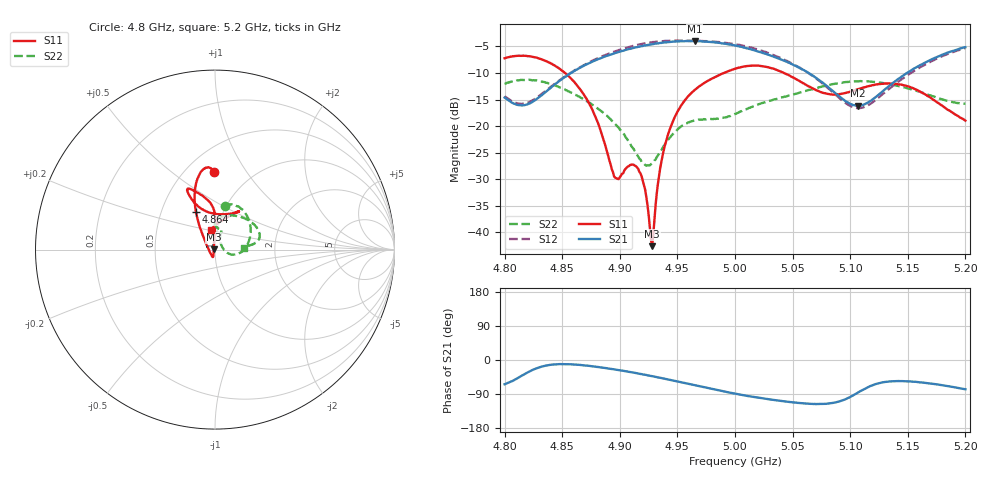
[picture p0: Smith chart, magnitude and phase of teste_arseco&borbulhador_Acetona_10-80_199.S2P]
! Network Analyzer HP8722D
! Hewlett-Packard
! Data name: Linha & Wilkinson
! Saver's name: Rodrigo Anjos
! Comments: Teste da utilização de aquisição
! continua pelo VNA HP8722D
! Time and date: 25/4/2025 16:55
!  Frequency  S11  S21  S12  S22
# HZ  S  MA R 50
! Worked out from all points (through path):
!   401 points, 4.8 GHz to 5.2 GHz, reference 50 ohm
!   highest |S21| = -3.99 dB at 4.965 GHz (marker M1); lowest = -16.2 dB at 5.107 GHz (marker M2)
!   lowest |S11| = -42.6 dB at 4.928 GHz (marker M3), VSWR 1.01, Z = 49.3 + j0.0621 ohm
!   |S11| at or under -10 dB: 4.852 GHz to 4.99 GHz (137.9 MHz wide, 2.8 % of centre); 5.043 GHz to end of sweep
!   |S22| runs from -27.4 to -11.3 dB; largest |S21 - S12| = 1.2
!   S11 on the Smith chart (normalised r, x): 4.8 GHz: 0.67, +0.72; 4.864 GHz: 0.75, +0.33; 5.2 GHz: 0.94, +0.21
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4.8e9  0.4352 91.0  0.1857 -64.0  0.191 69.4  0.2494 77.7
4.82e9  0.455 97.2  0.1606 -32.8  0.1662 98.1  0.2736 62.0
4.843e9  0.3741 106.6  0.244 -11.7  0.2478 118.9  0.2434 37.2
4.864e9  0.2341 116.9  0.3475 -12.5  0.3514 121.2  0.1906 12.4
4.867e9  0.2114 118.5  0.3615 -13.8  0.3657 120.8  0.1833 8.9
4.88e9  0.1141 128.5  0.421 -18.3  0.4309 118.4  0.1488 -4.9
4.896e9  0.03275 -170.0  0.4881 -25.3  0.5052 113.4  0.1048 -15.3
4.91e9  0.04337 -107.8  0.5373 -32.1  0.5625 107.4  0.06499 -13.1
4.917e9  0.03708 -104.6  0.5591 -36.3  0.5875 103.7  0.04948 -0.6
4.921e9  0.02794 -108.4  0.573 -38.5  0.5998 101.6  0.04427 11.9
4.928e9  0.00743 175.1  0.5884 -42.7  0.6158 97.2  0.04458 39.7
4.934e9  0.03386 100.0  0.6032 -46.6  0.6271 93.5  0.05498 57.7
4.939e9  0.06484 93.6  0.6124 -49.6  0.6334 90.2  0.06713 64.8
4.946e9  0.1102 90.3  0.6233 -54.2  0.6374 85.9  0.08396 69.8
4.965e9  0.2187 91.3  0.6317 -66.8  0.636 73.7  0.1133 70.9
5e9  0.347 109.4  0.5731 -88.8  0.5928 51.0  0.1302 87.9
5.031e9  0.3525 115.4  0.4606 -104.6  0.4772 33.5  0.1743 84.8
5.067e9  0.2274 105.6  0.3019 -115.7  0.2987 23.5  0.2221 57.3
5.107e9  0.2234 64.6  0.1554 -85.4  0.1476 57.5  0.2641 24.3
5.134e9  0.2516 57.8  0.2395 -56.6  0.2249 88.7  0.2485 12.5
5.169e9  0.1874 70.6  0.4162 -61.8  0.3996 85.0  0.1956 6.9
5.2e9  0.1127 100.7  0.5532 -77.3  0.5434 70.4  0.162 3.8
